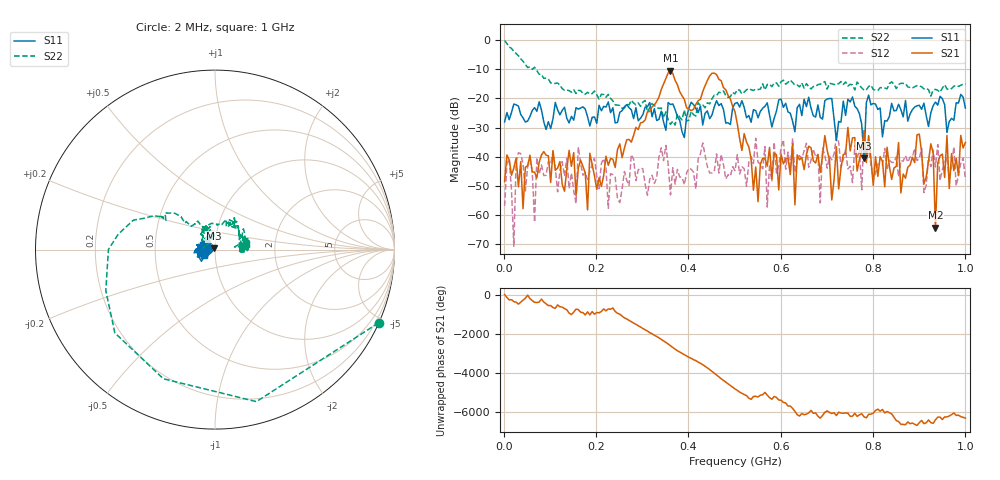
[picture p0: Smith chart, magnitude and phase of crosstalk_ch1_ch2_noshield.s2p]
!Keysight Technologies N9923A: A.12.45
!Date: Friday, 10 October 2025 02:00:11
!Timezone: (UTC+08:00) Kuala Lumpur, Singapore
!Model: N9923A
!Serial: MY61181427
!GPS Latitude:
!GPS Longitude:
!GPS TimeStamp: 0001-01-01 00:00:00Z
!GPS Seconds Since Last Read: 0
!CHECKSUM:0438503723
!Correction: S11(ON U?)S21(ON U?)S12(ON U?)S22(ON U?)
!S2P File: Measurements:S11,S21,S12,S22:
# Hz S DB R 50
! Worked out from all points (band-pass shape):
!   201 points, 2 MHz to 1 GHz, reference 50 ohm
!   highest |S21| = -10.47 dB at 361.3 MHz (marker M1); lowest = -64.5 dB at 935.1 MHz (marker M2)
!   |S21| within 3 dB of the highest: 350.3 MHz to 370.7 MHz (20.39 MHz wide, 5.66 % of centre); 442.2 MHz to 466.9 MHz (24.64 MHz wide, 5.42 % of centre)
!   lowest |S11| = -40.6 dB at 780.4 MHz (marker M3), VSWR 1.02, Z = 49.3 + j0.605 ohm
!   |S11| at or under -10 dB: start of sweep to end of sweep
!   |S22| runs from -29.2 to 0.0 dB; largest |S21 - S12| = 0.3
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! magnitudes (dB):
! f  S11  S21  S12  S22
! 2 MHz  -28.1  -48.6  -57.0  0.0
! 11.98 MHz  -27.3  -41.2  -40.8  -2.2
! 21.96 MHz  -21.9  -44.0  -70.9  -3.7
! 31.94 MHz  -22.6  -50.4  -38.7  -5.3
! 66.87 MHz  -23.1  -45.4  -62.6  -9.2
! 171.7 MHz  -22.9  -43.4  -46.4  -18.3
! 336.3 MHz  -27.2  -19.5  -40.1  -23.4
! 361.3 MHz  -22.1  -10.5  -53.2  -28.9
! 501 MHz  -21.7  -24.6  -44.9  -18.4
! 550.9 MHz  -26.6  -55.5  -42.0  -16.9
! 670.7 MHz  -26.0  -41.5  -37.4  -15.9
! 685.6 MHz  -26.5  -45.5  -56.0  -15.1
! 720.6 MHz  -34.5  -36.6  -33.2  -14.8
! 775.5 MHz  -28.9  -37.6  -51.5  -16.3
! 780.4 MHz  -40.6  -31.0  -32.0  -17.1
! 790.4 MHz  -18.8  -32.8  -37.6  -15.8
! 835.3 MHz  -26.2  -43.3  -41.3  -14.9
! 925.1 MHz  -24.9  -35.6  -43.5  -19.2
! 935.1 MHz  -21.2  -64.5  -43.6  -16.9
! 960.1 MHz  -31.7  -32.7  -40.1  -16.7
! 965.1 MHz  -27.9  -51.0  -48.3  -17.0
! 1 GHz  -23.3  -35.2  -47.8  -15.0
